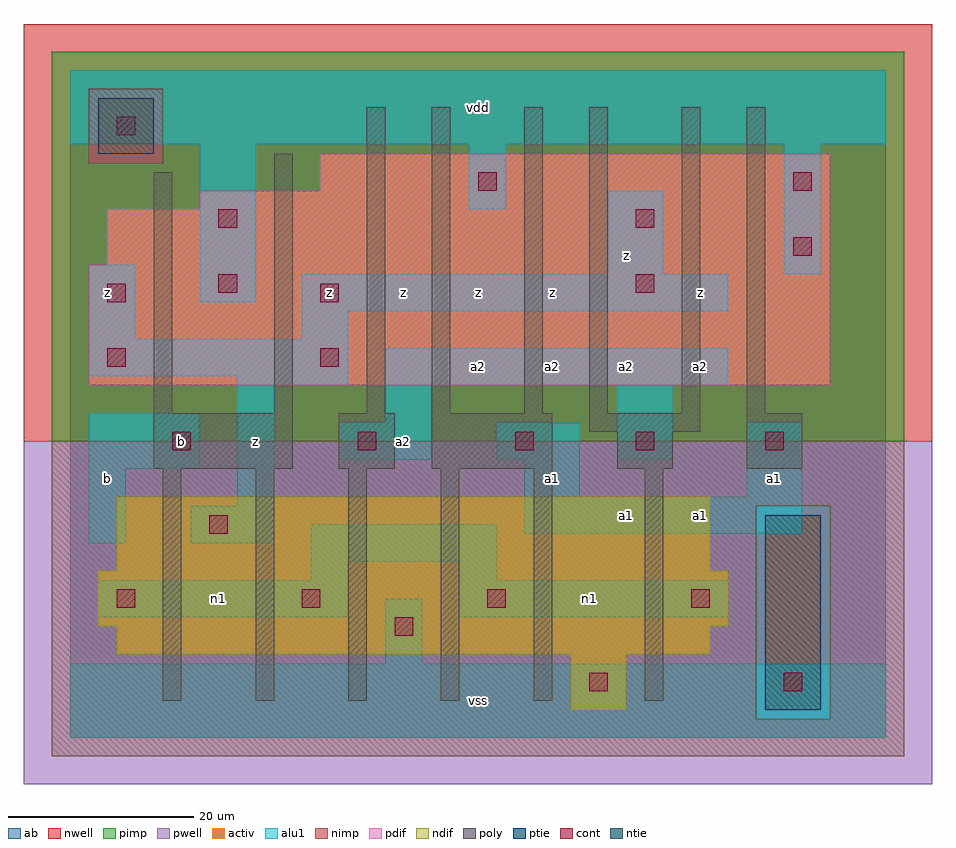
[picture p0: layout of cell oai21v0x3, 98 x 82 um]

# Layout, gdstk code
import gdstk
lib = gdstk.Library(unit=1e-6, precision=1e-09)
def R(c, l, rs):  # rectangles x0, y0, x1, y1
    for r in rs: c.add(gdstk.rectangle(r[:2], r[2:], *l))
def A(c, l, x, y, w, h, nx, ny, dx, dy):  # array of equal rectangles
    R(c, l, [(x+i*dx, y+j*dy, x+i*dx+w, y+j*dy+h) for i in range(nx) for j in range(ny)])
ndif = (3, 0)
pdif = (4, 0)
ntie = (5, 0)
ptie = (6, 0)
cont = (25, 0)
pwell = (41, 0)
nwell = (42, 0)
activ = (43, 0)
pimp = (44, 0)
nimp = (45, 0)
poly = (46, 0)
alu1 = (49, 0)
ab = (63, 0)

oai21v0x3 = lib.new_cell('oai21v0x3')
R(oai21v0x3, ndif, [(54,3,60,9), (5,9,69,12), (3,12,71,18), (5,18,69,26)])
R(oai21v0x3, pdif, [(2,38,82,51), (4,51,82,57), (14,57,82,59), (27,59,82,63)])
R(oai21v0x3, ntie, [(3,63,9,69)])
R(oai21v0x3, ptie, [(75,3,81,24)])
A(oai21v0x3, cont, 5, 14, 2, 2, 3, 1, 20, 0)
R(oai21v0x3, cont, [(56,5,58,7), (77,5,79,7), (35,11,37,13), (67,14,69,16), (15,22,17,24), (11,31,13,33), (31,31,33,33), (48,31,50,33), (61,31,63,33), (75,31,77,33), (4,40,6,42), (27,40,29,42), (4,47,6,49), (27,47,29,49), (16,48,18,50), (61,48,63,50), (78,52,80,54), (16,55,18,57), (61,55,63,57), (44,59,46,61), (78,59,80,61), (5,65,7,67)])
R(oai21v0x3, pwell, [(-5,-5,93,32)])
R(oai21v0x3, nwell, [(-5,32,93,77)])
R(oai21v0x3, activ, [(54,3,60,9), (75,3,81,24), (5,9,69,12), (3,12,71,18), (5,18,69,26), (2,38,82,51), (4,51,82,57), (14,57,82,59), (27,59,82,63), (3,63,9,69)])
R(oai21v0x3, pimp, [(74,2,82,25), (-2,32,90,62), (-2,62,2,70), (10,62,90,70), (-2,70,90,74)])
R(oai21v0x3, nimp, [(-2,-2,90,2), (-2,2,74,25), (82,2,90,25), (-2,25,90,32), (2,62,10,70)])
A(oai21v0x3, poly, 10, 4, 2, 25, 5, 1, 10, 0)
R(oai21v0x3, poly, [(62,4,64,29), (9,29,24,35), (29,29,35,35), (39,29,52,35), (59,29,65,33), (73,29,79,35), (56,33,68,35), (9,35,11,61), (22,35,24,63), (32,35,34,68), (39,35,41,68), (49,35,51,68), (56,35,58,68), (66,35,68,68), (73,35,75,68)])
R(oai21v0x3, alu1, [(0,0,88,8), (34,8,38,15), (3,13,30,17), (42,13,71,17), (26,17,30,19), (42,17,46,19), (26,19,46,23), (2,21,6,29), (13,21,22,25), (49,22,79,26), (18,25,22,38), (49,26,55,30), (73,26,79,34), (2,29,14,35), (29,30,39,34), (46,30,55,34), (59,30,65,38), (34,34,39,38), (18,38,30,39), (34,38,71,42), (2,39,30,43), (2,43,7,51), (25,43,30,46), (25,46,71,50), (14,47,20,64), (58,50,64,59), (77,50,81,64), (43,57,47,64), (0,64,88,72)])
R(oai21v0x3, ab, [(0,0,88,72)])
oai21v0x3.add(gdstk.Label('n1', (16,15), layer=49, texttype=0))
oai21v0x3.add(gdstk.Label('n1', (56,15), layer=49, texttype=0))
oai21v0x3.add(gdstk.Label('b', (4,28), layer=49, texttype=0))
oai21v0x3.add(gdstk.Label('b', (12,32), layer=49, texttype=0))
oai21v0x3.add(gdstk.Label('z', (4,48), layer=49, texttype=0))
oai21v0x3.add(gdstk.Label('z', (20,32), layer=49, texttype=0))
oai21v0x3.add(gdstk.Label('a2', (36,32), layer=49, texttype=0))
oai21v0x3.add(gdstk.Label('z', (36,48), layer=49, texttype=0))
oai21v0x3.add(gdstk.Label('z', (28,48), layer=49, texttype=0))
oai21v0x3.add(gdstk.Label('vss', (44,4), layer=49, texttype=0))
oai21v0x3.add(gdstk.Label('a1', (52,28), layer=49, texttype=0))
oai21v0x3.add(gdstk.Label('a1', (60,24), layer=49, texttype=0))
oai21v0x3.add(gdstk.Label('a2', (52,40), layer=49, texttype=0))
oai21v0x3.add(gdstk.Label('a2', (60,40), layer=49, texttype=0))
oai21v0x3.add(gdstk.Label('a2', (44,40), layer=49, texttype=0))
oai21v0x3.add(gdstk.Label('z', (44,48), layer=49, texttype=0))
oai21v0x3.add(gdstk.Label('z', (60,52), layer=49, texttype=0))
oai21v0x3.add(gdstk.Label('z', (52,48), layer=49, texttype=0))
oai21v0x3.add(gdstk.Label('vdd', (44,68), layer=49, texttype=0))
oai21v0x3.add(gdstk.Label('a1', (68,24), layer=49, texttype=0))
oai21v0x3.add(gdstk.Label('a1', (76,28), layer=49, texttype=0))
oai21v0x3.add(gdstk.Label('a2', (68,40), layer=49, texttype=0))
oai21v0x3.add(gdstk.Label('z', (68,48), layer=49, texttype=0))

lib.write_gds('oai21v0x3.gds')
